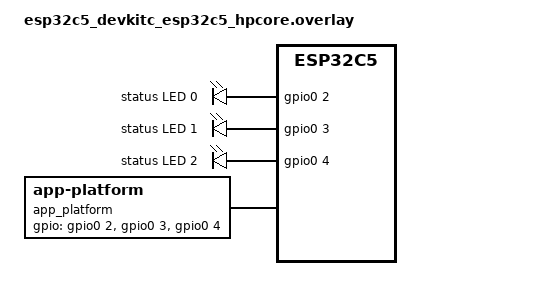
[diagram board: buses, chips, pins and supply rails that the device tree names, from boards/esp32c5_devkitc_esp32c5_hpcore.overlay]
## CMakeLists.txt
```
# SPDX-License-Identifier: Apache-2.0

cmake_minimum_required(VERSION 3.20.0)
find_package(Zephyr REQUIRED HINTS $ENV{ZEPHYR_BASE})
project(app_dispatch)

target_sources(app PRIVATE src/main.c)
```

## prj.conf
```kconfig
CONFIG_APPLICATION_DEFINED_SYSCALL=y

CONFIG_APP_PLATFORM=y
CONFIG_APP_PLATFORM_MAX_APPS=4
CONFIG_APP_PLATFORM_SERVICES=y
CONFIG_APP_PLATFORM_IO=y
CONFIG_APP_PLATFORM_GPIO=y
CONFIG_APP_PLATFORM_EVENTS=y

CONFIG_GPIO=y
CONFIG_INPUT=y
CONFIG_INPUT_GPIO_KEYS=y
CONFIG_ENTROPY_GENERATOR=y

CONFIG_TASK_WDT=y
CONFIG_TASK_WDT_CHANNELS=6

CONFIG_LOG=y
CONFIG_LOG_MODE_MINIMAL=y
CONFIG_THREAD_NAME=y

CONFIG_MAIN_STACK_SIZE=4096
```

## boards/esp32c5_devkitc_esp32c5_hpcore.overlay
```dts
/*
 * Copyright (c) 2026 Espressif Systems (Shanghai) Co., Ltd.
 *
 * SPDX-License-Identifier: Apache-2.0
 */

/ {
	leds {
		compatible = "gpio-leds";

		led_a: led_0 {
			gpios = <&gpio0 2 GPIO_ACTIVE_HIGH>;
			label = "status LED 0";
		};

		led_b: led_1 {
			gpios = <&gpio0 3 GPIO_ACTIVE_HIGH>;
			label = "status LED 1";
		};

		led_c: led_2 {
			gpios = <&gpio0 4 GPIO_ACTIVE_HIGH>;
			label = "status LED 2";
		};
	};

	app_platform {
		compatible = "zephyr,app-platform";
		gpios = <&gpio0 2 GPIO_ACTIVE_HIGH>,
			<&gpio0 3 GPIO_ACTIVE_HIGH>,
			<&gpio0 4 GPIO_ACTIVE_HIGH>;
		line-names = "status LED 0", "status LED 1", "status LED 2";
	};

	aliases {
		led0 = &led_a;
		led1 = &led_b;
		led2 = &led_c;
	};
};
```

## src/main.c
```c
/*
 * Copyright (c) 2026 Espressif Systems (Shanghai) Co., Ltd.
 *
 * SPDX-License-Identifier: Apache-2.0
 */

/*
 * An isolated user-mode application that reacts to input through registered
 * callbacks instead of a blocking wait per source. The handlers run on the
 * application's own thread, in user mode and in its own memory domain: the
 * dispatcher is a loop around app_svc_event_wait(), so nothing calls from the
 * platform into the application and a faulting handler is an ordinary
 * application fault.
 *
 * Two sources are dispatched from the one loop, which is what a per-source
 * blocking call cannot do: the board button, and level changes on a granted
 * GPIO line. Press the board button to drive the first; wire an edge onto the
 * granted line to drive the second.
 */

#include <zephyr/app_platform/app_platform.h>
#include <zephyr/app_platform/app_services.h>
#include <zephyr/app_platform/app_caps.h>
#include <zephyr/app_platform/app_dispatch.h>
#include <zephyr/kernel.h>
#include <zephyr/sys/printk.h>
#include <zephyr/app_memory/app_memdomain.h>
#include <errno.h>

#define WATCH_LINE 0
#define IDLE_MS    30000

/* Kept together so a handler can reach the table it was dispatched from. */
struct holder {
	struct app_dispatch d;
	int                 button;
	int                 gpio;
};

/* The dispatch table and its counters are touched by the application in user
 * mode, so they live in a partition added to its domain rather than in plain
 * kernel .bss, which the application may not read.
 */
K_APPMEM_PARTITION_DEFINE(disp_part);
K_APP_DMEM(disp_part) struct holder holder;

static void on_button(const struct app_event *evt, void *user)
{
	struct holder *h = user;
	char line[56];

	h->button++;
	(void)snprintk(line, sizeof(line),
		       "dispatch: key 0x%x #%d (seq %u)", evt->code, h->button,
		       evt->seq);
	app_svc_log(line);
}

static void on_gpio(const struct app_event *evt, void *user)
{
	struct holder *h = user;
	char line[64];

	h->gpio++;
	(void)snprintk(line, sizeof(line),
		       "dispatch: gpio line %u -> %u (#%d, seq %u)",
		       evt->line, evt->value, h->gpio, evt->seq);
	app_svc_log(line);

	if (h->gpio >= 4) {
		app_svc_log("dispatch: seen enough, stopping");
		app_dispatch_stop(&h->d);
	}
}

static void dispatch_app(void *arg)
{
	ARG_UNUSED(arg);

	if (app_svc_gpio_watch(WATCH_LINE, 1) != 0) {
		app_svc_log("dispatch: could not watch the granted line");
		return;
	}
	app_svc_log("dispatch: watching a granted line and the button");

	(void)app_dispatch_on(&holder.d, APP_EVENT_BUTTON, on_button, &holder);
	(void)app_dispatch_on(&holder.d, APP_EVENT_GPIO, on_gpio, &holder);

	int rc = app_dispatch_run(&holder.d, IDLE_MS);
	char line[64];

	(void)snprintk(line, sizeof(line),
		       "dispatch: loop ended rc=%d button=%d gpio=%d", rc,
		       holder.button, holder.gpio);
	app_svc_log(line);
}

static void nodispatch_app(void *arg)
{
	ARG_UNUSED(arg);

	struct app_event evt;

	if (app_svc_event_wait(&evt, 100) == -EPERM) {
		app_svc_log("nodispatch: wait denied without the capability");
	} else {
		app_svc_log("nodispatch: ERROR wait was allowed");
	}
}

int main(void)
{
	printk("\n*** app_dispatch: input events as callbacks ***\n");

	if (app_platform_init() != 0) {
		printk("platform init failed\n");
		return 0;
	}

	struct app_def def = {
		.name = "dispatch",
		.source = APP_BUILTIN,
		.entry = dispatch_app,
		.caps = APP_CAP_LOG | APP_CAP_INPUT | APP_CAP_GPIO,
		.stopped = true,
	};

	int id = app_platform_launch(&def);

	if (id < 0) {
		printk("launch failed (%d)\n", id);
		return 0;
	}
	app_platform_grant_gpio(id, BIT(WATCH_LINE));
	k_mem_domain_add_partition(app_platform_domain(id), &disp_part);
	(void)app_platform_start(id);

	struct app_def denied = {
		.name = "nodispatch",
		.source = APP_BUILTIN,
		.entry = nodispatch_app,
		.caps = APP_CAP_LOG,
	};

	(void)app_platform_launch(&denied);
	printk("*** launched isolated dispatch app (group %d) ***\n", id);

	printk("*** press the board button to drive the dispatcher ***\n");
	return 0;
}
```
